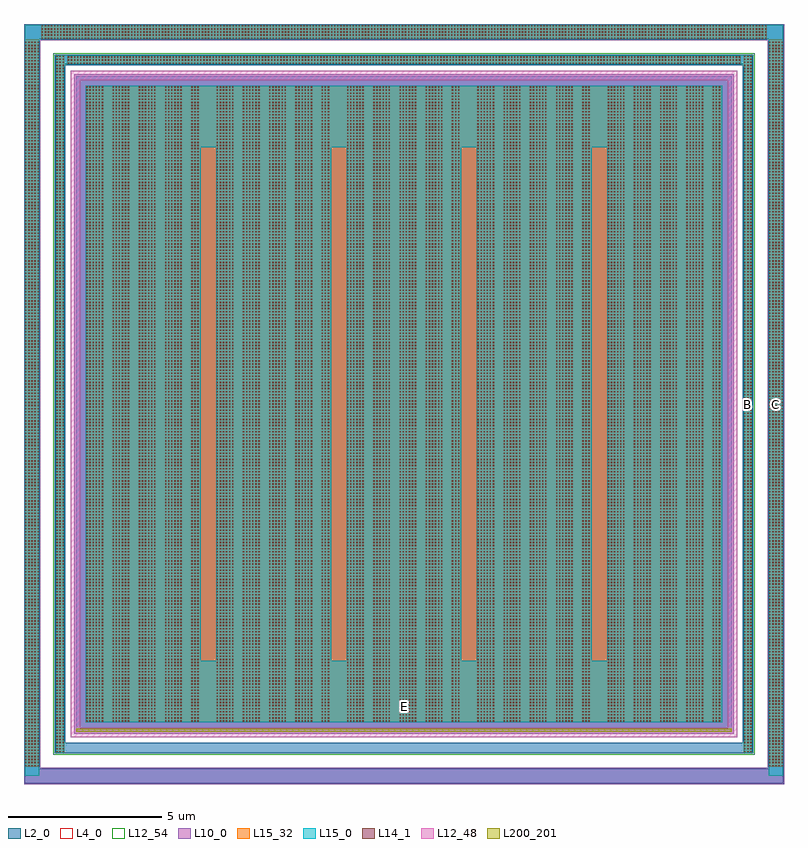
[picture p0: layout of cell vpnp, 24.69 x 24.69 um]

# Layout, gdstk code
import gdstk
lib = gdstk.Library(unit=1e-6, precision=1e-09)
def R(c, l, rs):  # rectangles x0, y0, x1, y1
    for r in rs: c.add(gdstk.rectangle(r[:2], r[2:], *l))
def A(c, l, x, y, w, h, nx, ny, dx, dy):  # array of equal rectangles
    R(c, l, [(x+i*dx, y+j*dy, x+i*dx+w, y+j*dy+h) for i in range(nx) for j in range(ny)])
L2_0 = (2, 0)
L4_0 = (4, 0)
L10_0 = (10, 0)
L12_48 = (12, 48)
L12_54 = (12, 54)
L14_1 = (14, 1)
L15_0 = (15, 0)
L15_32 = (15, 32)
L200_201 = (200, 201)

vpnp = lib.new_cell('vpnp')
R(vpnp, L2_0, [(-18.829,-10.859,5.823,-10.379), (-18.829,-10.379,-18.349,13.313), (5.343,-10.379,5.823,13.313), (-17.849,-9.879,4.843,-9.539), (-17.849,-9.539,-17.509,12.473), (4.503,-9.539,4.843,12.473), (-17.153,-9.183,4.147,12.117), (-17.849,12.473,4.843,12.813), (-18.829,13.313,5.823,13.793)])
R(vpnp, L4_0, [(-17.905,-9.935,4.899,12.869)])
R(vpnp, L10_0, [(-18.85,-10.88,5.844,-10.358), (-18.85,-10.358,-18.328,13.292), (5.322,-10.358,5.844,13.292), (-17.223,-9.253,4.217,12.187), (-18.85,13.292,5.844,13.814)])
R(vpnp, L12_48, [(-17.334,-9.364,4.328,-9.058), (-17.334,-9.058,-17.028,11.992), (4.022,-9.058,4.328,11.992), (-17.334,11.992,4.328,12.298)])
R(vpnp, L12_54, [(-17.905,-9.935,4.899,12.869)])
A(vpnp, L14_1, -18.809, -10.303, 0.04, 0.04, 5, 236, 0.1, 0.1)
A(vpnp, L14_1, 5.363, -10.303, 0.04, 0.04, 5, 236, 0.1, 0.1)
A(vpnp, L14_1, -17.799, -9.853, 0.04, 0.04, 3, 227, 0.1, 0.1)
A(vpnp, L14_1, 4.553, -9.853, 0.04, 0.04, 3, 227, 0.1, 0.1)
A(vpnp, L14_1, -16.823, -8.853, 0.04, 0.04, 6, 207, 0.1, 0.1)
A(vpnp, L14_1, -15.971, -8.853, 0.04, 0.04, 6, 207, 0.1, 0.1)
A(vpnp, L14_1, -15.119, -8.853, 0.04, 0.04, 6, 207, 0.1, 0.1)
A(vpnp, L14_1, -14.267, -8.853, 0.04, 0.04, 6, 207, 0.1, 0.1)
A(vpnp, L14_1, -13.415, -8.853, 0.04, 0.04, 3, 207, 0.1, 0.1)
A(vpnp, L14_1, -12.587, -8.853, 0.04, 0.04, 6, 207, 0.1, 0.1)
A(vpnp, L14_1, -11.735, -8.853, 0.04, 0.04, 6, 207, 0.1, 0.1)
A(vpnp, L14_1, -10.883, -8.853, 0.04, 0.04, 6, 207, 0.1, 0.1)
A(vpnp, L14_1, -10.031, -8.853, 0.04, 0.04, 6, 207, 0.1, 0.1)
A(vpnp, L14_1, -9.179, -8.853, 0.04, 0.04, 3, 207, 0.1, 0.1)
A(vpnp, L14_1, -8.352, -8.853, 0.04, 0.04, 6, 207, 0.1, 0.1)
A(vpnp, L14_1, -7.5, -8.853, 0.04, 0.04, 6, 207, 0.1, 0.1)
A(vpnp, L14_1, -6.648, -8.853, 0.04, 0.04, 6, 207, 0.1, 0.1)
A(vpnp, L14_1, -5.796, -8.853, 0.04, 0.04, 6, 207, 0.1, 0.1)
A(vpnp, L14_1, -4.944, -8.853, 0.04, 0.04, 3, 207, 0.1, 0.1)
A(vpnp, L14_1, -4.117, -8.853, 0.04, 0.04, 6, 207, 0.1, 0.1)
A(vpnp, L14_1, -3.265, -8.853, 0.04, 0.04, 6, 207, 0.1, 0.1)
A(vpnp, L14_1, -2.413, -8.853, 0.04, 0.04, 6, 207, 0.1, 0.1)
A(vpnp, L14_1, -1.561, -8.853, 0.04, 0.04, 6, 207, 0.1, 0.1)
A(vpnp, L14_1, -0.709, -8.853, 0.04, 0.04, 3, 207, 0.1, 0.1)
A(vpnp, L14_1, 0.118, -8.853, 0.04, 0.04, 6, 207, 0.1, 0.1)
A(vpnp, L14_1, 0.97, -8.853, 0.04, 0.04, 6, 207, 0.1, 0.1)
A(vpnp, L14_1, 1.822, -8.853, 0.04, 0.04, 6, 207, 0.1, 0.1)
A(vpnp, L14_1, 2.674, -8.853, 0.04, 0.04, 6, 207, 0.1, 0.1)
A(vpnp, L14_1, 3.526, -8.853, 0.04, 0.04, 3, 207, 0.1, 0.1)
A(vpnp, L14_1, -17.423, 12.523, 0.04, 0.04, 219, 3, 0.1, 0.1)
A(vpnp, L14_1, -18.273, 13.333, 0.04, 0.04, 236, 5, 0.1, 0.1)
A(vpnp, L15_0, -12.605, -6.871, 3.735, 16.676, 4, 1, 4.235, 0)
R(vpnp, L15_0, [(-18.827,-10.619,-18.351,13.791), (5.345,-10.619,5.821,13.791), (-17.817,-9.871,-17.541,12.805), (4.535,-9.871,4.811,12.805), (-16.841,-8.871,3.835,-6.871), (-16.841,-6.871,-13.106,9.805), (-16.841,9.805,3.835,11.805), (-17.541,12.505,4.535,12.805), (-18.351,13.315,5.345,13.791)])
R(vpnp, L15_32, [(-18.827,-10.321,-18.351,13.315), (5.345,-10.321,5.821,13.315), (-17.817,-9.871,-17.541,12.805), (4.535,-9.871,4.811,12.805), (-16.841,-8.871,3.835,11.805), (-17.441,12.505,4.435,12.781), (-18.291,13.315,5.285,13.791)])
R(vpnp, L200_201, [(-17.153,-9.183,4.147,-9.083)])
vpnp.add(gdstk.Label('E', (-6.503,-8.371), layer=15, texttype=20))
vpnp.add(gdstk.Label('B', (4.673,1.467), layer=15, texttype=20))
vpnp.add(gdstk.Label('C', (5.583,1.467), layer=15, texttype=20))

lib.write_gds('vpnp.gds')
